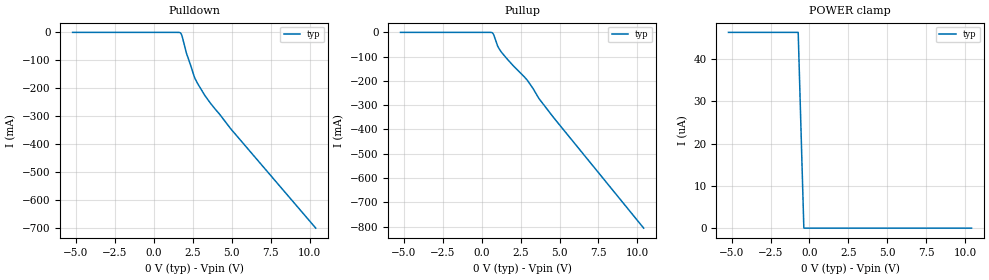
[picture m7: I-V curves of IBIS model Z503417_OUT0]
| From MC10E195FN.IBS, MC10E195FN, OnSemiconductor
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| (C) COPYRIGHT 1993-2000
| MENTOR GRAPHICS CORPORATION
| ICX STANDARD LIBRARY, ICX PROJECT MODELING,
| ICX CUSTOM MODELING, ICX VENDOR MODEL
| ALL RIGHTS RESERVED.
| THE FOLLOWING ARE TRADEMARKS OR SERVICE MARKS OF
| MENTOR GRAPHICS CORPORATION:ICX (R), ICX STANDARD
| LIBRARY(R), ICX PROJECT MODELING(R), ICX CUSTOM
| MODELING(R), qualityIBIS(TM), MODELVIEWER(TM),
| AND MODELEDITOR(TM)
| ALL COPIES OF SOFTWARE, INCLUDING BUT NOT LIMITED TO
| ANY MODIFICATIONS, ENHANCEMENTS OR DERIVATIVE WORKS,
| MUST CONTAIN ALL MENTOR GRAPHICS CORPORATION'S
| NOTICES AND LEGENDS, INCLUDING THOSE EMBEDDED IN
| SOFTWARE AND THOSE AFFIXED TO SOFTWARE MEDIUM
| AND CONTAINER, AS RECEIVED FROM MENTOR GRAPHICS
| CORPORATION.
| Model Application Version 1.89 2/18/99.
[Model] Z503417_OUT0
Model_type Output_ECL
Vref=-2.000V
Rref=50.00ohms
Cref=0.000F
Vmeas=-1.305V
C_comp 8.000pF NA NA
| variable typ   min   max
[Voltage Range] -5.200V NA NA
[POWER Clamp Reference] 0.000V NA NA
[Pullup Reference] 0.000V NA NA
[Pulldown Reference] 0.000V NA NA
[GND Clamp Reference] -5.200V NA NA
[GND Clamp]
-5.2V     0A         NA         NA
10.4V     0A         NA         NA
[Pulldown]
-5.2V     221.2uA    NA         NA
1.723V    -1.694mA   NA         NA
1.781V    -6.461mA   NA         NA
1.831V    -14.72mA   NA         NA
2.1V      -73.67mA   NA         NA
2.642V    -163.6mA   NA         NA
3.276V    -225mA     NA         NA
4.958V    -345.8mA   NA         NA
10.4V     -700.5mA   NA         NA
[Pullup]
-5.2V     169.1uA    NA         NA
703.1mV   -2.252mA   NA         NA
795.7mV   -12.46mA   NA         NA
1.025V    -55.26mA   NA         NA
1.257V    -79.91mA   NA         NA
2.032V    -137.3mA   NA         NA
2.93V     -196.7mA   NA         NA
3.31V     -232mA     NA         NA
3.682V    -272.6mA   NA         NA
4.615V    -350.5mA   NA         NA
10.4V     -806.6mA   NA         NA
[POWER Clamp]
-5.2V     46.3uA     NA         NA
-724.6mV  46.3uA     NA         NA
-362.3mV  0A         NA         NA
10.4V     0A         NA         NA
[Ramp]
| variable typ min max
dV/dt_r 545.2m/583.0p NA NA
dV/dt_f 545.2m/550.4p NA NA
R_load = 50.00Ohms
